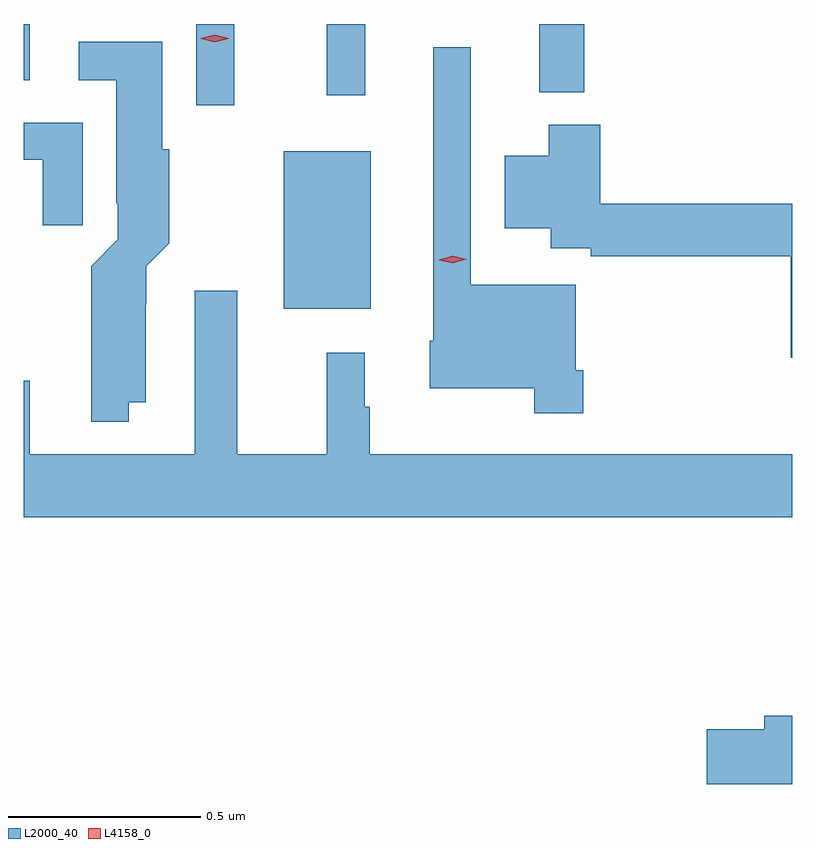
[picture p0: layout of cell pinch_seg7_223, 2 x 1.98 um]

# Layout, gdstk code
import gdstk
lib = gdstk.Library(unit=1e-6, precision=1e-09)
def R(c, l, rs):  # rectangles x0, y0, x1, y1
    for r in rs: c.add(gdstk.rectangle(r[:2], r[2:], *l))
def P(c, l, *ps):  # polygons
    for p in ps: c.add(gdstk.Polygon(p, *l))
L2000_40 = (2000, 40)
L4158_0 = (4158, 0)

pinch_seg7_223 = lib.new_cell('pinch_seg7_223')
R(pinch_seg7_223, L2000_40, [(684.158,1002.491,684.385,1002.901), (683.931,1003.02,684.03,1003.232), (684.271,1003.047,684.371,1003.232), (684.824,1003.055,684.941,1003.232), (683.482,1003.086,683.497,1003.232)])
P(pinch_seg7_223, L2000_40, [(683.755,1002.248),(683.8,1002.248),(683.8,1002.503),(683.801,1002.503),(683.801,1002.602),(683.86,1002.661),(683.86,1002.906),(683.842,1002.906),(683.842,1003.186),(683.625,1003.186),(683.625,1003.085),(683.723,1003.085),(683.723,1002.766),(683.727,1002.766),(683.727,1002.672),(683.657,1002.602),(683.657,1002.5),(683.658,1002.5),(683.658,1002.197),(683.755,1002.197)],
  [(684.938,1002.331),(684.918,1002.331),(684.918,1002.553),(684.645,1002.553),(684.645,1003.171),(684.548,1003.171),(684.548,1002.408),(684.539,1002.408),(684.539,1002.284),(684.81,1002.284),(684.81,1002.219),(684.938,1002.219)],
  [(683.635,1002.975),(683.482,1002.975),(683.482,1002.879),(683.531,1002.879),(683.531,1002.708),(683.635,1002.708)],
  [(685.482,1002.764),(684.983,1002.764),(684.983,1002.97),(684.848,1002.97),(684.848,1002.889),(684.734,1002.889),(684.734,1002.701),(684.854,1002.701),(684.854,1002.648),(684.958,1002.648),(684.958,1002.628),(685.478,1002.628),(685.478,1002.363),(685.482,1002.363)],
  [(685.482,1002.112),(684.382,1002.112),(684.382,1002.236),(684.37,1002.236),(684.37,1002.376),(684.271,1002.376),(684.271,1002.112),(684.037,1002.112),(684.037,1002.538),(683.927,1002.538),(683.927,1002.112),(683.497,1002.112),(683.497,1002.304),(683.482,1002.304),(683.482,1001.948),(685.482,1001.948)],
  [(685.482,1001.432),(685.409,1001.432),(685.409,1001.396),(685.26,1001.396),(685.26,1001.254),(685.482,1001.254)])
P(pinch_seg7_223, L4158_0, [(684.599,1002.609),(684.563,1002.617),(684.563,1002.617),(684.563,1002.618),(684.598,1002.629),(684.634,1002.62),(684.635,1002.62),(684.634,1002.62)],
  [(683.979,1003.184),(683.943,1003.194),(683.943,1003.194),(683.943,1003.195),(683.979,1003.204),(684.015,1003.195),(684.016,1003.194),(684.015,1003.194)])

lib.write_gds('pinch_seg7_223.gds')
